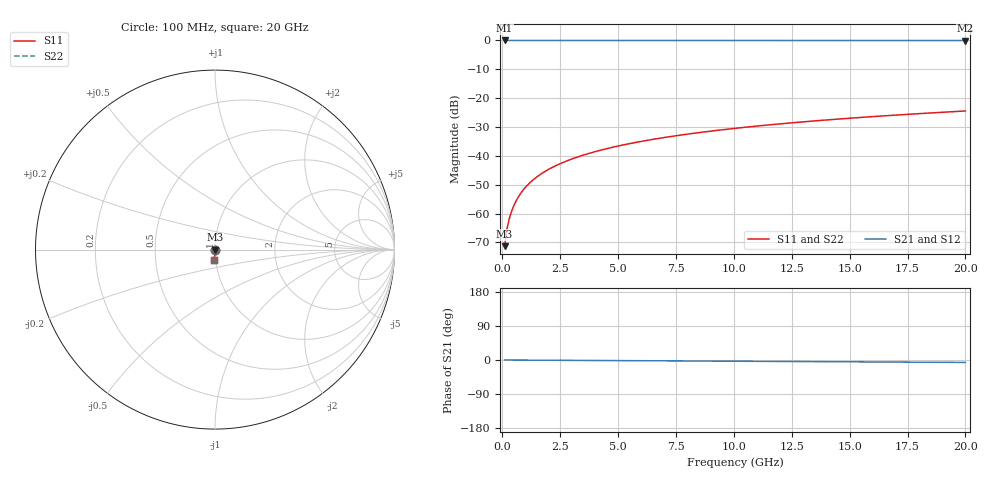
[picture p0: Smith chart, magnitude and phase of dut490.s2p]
! Touchstone file exported from HFSS 2026.1.0
!  File:  C:/ffzhzh/LocalFiles/Ansys_Project_Files/temp_train_TSV_490_1783022795_55676.aedt
!  Generated:  04:08:03 AM Jul  3, 2026
!  Design:  TSV
!  Project:  temp_train_TSV_490_1783022795_55676
! Variables:
!  h_bsmrdl = 2um
!  h_ox = 20um
!  h_rdl = 5um
!  h_sub = 55.34um
!  h_tmrdl = 5um
!  h_tsv = 55.34um
!  h_via = 3um
!  l_bsmrdl = 300um
!  l_sub = 427.78um
!  l_tmrdl = 200um
!  m_sub = 200um
!  pitch = 35.68um
!  r_tsv = 13.89um
!  s_tmrdl = 10um
!  w_bsmrdl = 18um
!  w_sub = 500um
!  w_tmrdl = 12um
!  x_tsv_center1 = 206um
!  x_tsv_center2 = 524um
!  x_tsv_center3 = 736um
!  x_tsv_center4 = 1054um
!  x_tsv_center5 = 1266um
!  x_tsv_center6 = 1584um
# GHz S MA R 50.000000
! Terminal data exported
! Port[1] = TSV1_1_T1
! Port[2] = TSV1_1_T2
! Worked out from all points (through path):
!   200 points, 100 MHz to 20 GHz, reference 50 ohm
!   highest |S21| = 0.00 dB at 100 MHz (marker M1); lowest = 0.0 dB at 20 GHz (marker M2)
!   lowest |S11| = -71.3 dB at 100 MHz (marker M3), VSWR 1.00, Z = 50 - j0.0263 ohm
!   |S11| at or under -10 dB: start of sweep to end of sweep
!   |S22| runs from -71.3 to -24.4 dB; largest |S21 - S12| = 4e-15
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0.1  0.0002724 -75.3  0.9999 -0.0  0.9999 -0.0  0.0002724 -75.3
! Gamma 0 0 0 0
! Port Impedance 50 0 50 0
0.2  0.0005366 -81.3  0.9999 -0.1  0.9999 -0.1  0.0005366 -81.3
0.3  0.0008094 -83.0  0.9999 -0.1  0.9999 -0.1  0.0008094 -83.0
0.4  0.001089 -83.8  0.9999 -0.1  0.9999 -0.1  0.001089 -83.8
0.5  0.001375 -84.2  0.9999 -0.2  0.9999 -0.2  0.001375 -84.2
0.7  0.001959 -85.0  0.9998 -0.2  0.9998 -0.2  0.001959 -85.0
0.8  0.002255 -85.3  0.9998 -0.3  0.9998 -0.3  0.002255 -85.3
1  0.00285 -85.9  0.9998 -0.3  0.9998 -0.3  0.00285 -85.9
1.2  0.003447 -86.4  0.9998 -0.4  0.9998 -0.4  0.003447 -86.4
1.4  0.004044 -86.8  0.9997 -0.5  0.9997 -0.5  0.004044 -86.8
1.7  0.004939 -87.3  0.9997 -0.6  0.9997 -0.6  0.004939 -87.3
2  0.005833 -87.7  0.9997 -0.7  0.9997 -0.7  0.005833 -87.7
2.7  0.007921 -88.4  0.9996 -0.9  0.9996 -0.9  0.007921 -88.4
3.5  0.01031 -89.0  0.9996 -1.1  0.9996 -1.1  0.01031 -89.0
4.2  0.0124 -89.4  0.9995 -1.4  0.9995 -1.4  0.0124 -89.4
5  0.0148 -89.9  0.9994 -1.6  0.9994 -1.6  0.0148 -89.9
6.8  0.02021 -90.7  0.9993 -2.2  0.9993 -2.2  0.02021 -90.7
8.3  0.02473 -91.3  0.9991 -2.7  0.9991 -2.7  0.02473 -91.3
10.1  0.03015 -92.0  0.9989 -3.3  0.9989 -3.3  0.03015 -92.0
13.4  0.0401 -93.2  0.9984 -4.3  0.9984 -4.3  0.0401 -93.2
16.7  0.05003 -94.4  0.9979 -5.4  0.9979 -5.4  0.05003 -94.4
20  0.05995 -95.5  0.9973 -6.4  0.9973 -6.4  0.05995 -95.5
